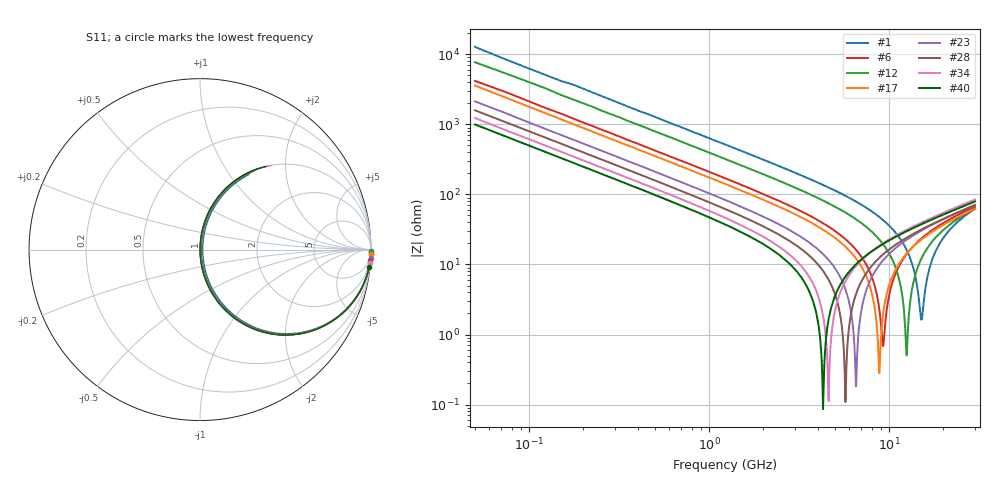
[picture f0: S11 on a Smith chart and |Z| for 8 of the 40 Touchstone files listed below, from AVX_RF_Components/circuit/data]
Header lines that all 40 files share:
# MHZ S MA R 50
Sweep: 50 MHz to 30 GHz
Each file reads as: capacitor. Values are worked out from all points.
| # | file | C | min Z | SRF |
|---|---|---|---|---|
| 1 | C0201SEr25.s2p | 250 fF | 1.63 ohm | 15.12 GHz |
| 2 | C0201SEr35.s2p | 350 fF | 1.11 ohm | 14.11 GHz |
| 3 | C0201SEr45.s2p | 448 fF | 992 mohm | 11.84 GHz |
| 4 | C0201SEr55.s2p | 550 fF | 806 mohm | 10.94 GHz |
| 5 | C0201SEr65.s2p | 648 fF | 724 mohm | 10.06 GHz |
| 6 | C0201SEr75.s2p | 750 fF | 686 mohm | 9.251 GHz |
| 7 | C0201SEr85.s2p | 849 fF | 605 mohm | 8.907 GHz |
| 8 | C0201SEr95.s2p | 948 fF | 525 mohm | 8.636 GHz |
| 9 | C0402SE0r1.s2p | 101 fF | 1.11 ohm | 19.44 GHz |
| 10 | C0402SE0r2.s2p | 200 fF | 911 mohm | 16.42 GHz |
| 11 | C0402SE0r3.s2p | 300 fF | 727 mohm | 14.62 GHz |
| 12 | C0402SE0r4.s2p | 400 fF | 504 mohm | 12.51 GHz |
| 13 | C0402SE0r5.s2p | 500 fF | 406 mohm | 11.28 GHz |
| 14 | C0402SE0r6.s2p | 600 fF | 322 mohm | 10.4 GHz |
| 15 | C0402SE0r7.s2p | 700 fF | 306 mohm | 9.545 GHz |
| 16 | C0402SE0r8.s2p | 799 fF | 291 mohm | 9.128 GHz |
| 17 | C0402SE0r9.s2p | 899 fF | 281 mohm | 8.821 GHz |
| 18 | C0402SE1r0.s2p | 999 fF | 221 mohm | 7.998 GHz |
| 19 | C0402SE1r1.s2p | 1.1 pF | 208 mohm | 7.785 GHz |
| 20 | C0402SE1r2.s2p | 1.2 pF | 200 mohm | 7.463 GHz |
| 21 | C0402SE1r3.s2p | 1.3 pF | 194 mohm | 7.059 GHz |
| 22 | C0402SE1r4.s2p | 1.4 pF | 194 mohm | 6.802 GHz |
| 23 | C0402SE1r5.s2p | 1.5 pF | 183 mohm | 6.547 GHz |
| 24 | C0402SE1r6.s2p | 1.6 pF | 133 mohm | 6.379 GHz |
| 25 | C0402SE1r7.s2p | 1.7 pF | 128 mohm | 6.425 GHz |
| 26 | C0402SE1r8.s2p | 1.8 pF | 118 mohm | 6.184 GHz |
| 27 | C0402SE1r9.s2p | 1.9 pF | 123 mohm | 6.077 GHz |
| 28 | C0402SE2r0.s2p | 2 pF | 109 mohm | 5.721 GHz |
| 29 | C0402SE2r1.s2p | 2.1 pF | 104 mohm | 5.391 GHz |
| 30 | C0402SE2r2.s2p | 2.2 pF | 106 mohm | 5.087 GHz |
| 31 | C0402SE2r3.s2p | 2.3 pF | 110 mohm | 5.009 GHz |
| 32 | C0402SE2r4.s2p | 2.4 pF | 110 mohm | 4.926 GHz |
| 33 | C0402SE2r5.s2p | 2.5 pF | 99 mohm | 4.714 GHz |
| 34 | C0402SE2r6.s2p | 2.6 pF | 112 mohm | 4.607 GHz |
| 35 | C0402SE2r7.s2p | 2.7 pF | 104 mohm | 4.584 GHz |
| 36 | C0402SE2r8.s2p | 2.8 pF | 97.9 mohm | 4.499 GHz |
| 37 | C0402SE2r9.s2p | 2.9 pF | 95.5 mohm | 4.423 GHz |
| 38 | C0402SE3r0.s2p | 3 pF | 99.1 mohm | 4.426 GHz |
| 39 | C0402SE3r1.s2p | 3.1 pF | 93.8 mohm | 4.375 GHz |
| 40 | C0402SE3r2.s2p | 3.2 pF | 86.2 mohm | 4.296 GHz |
